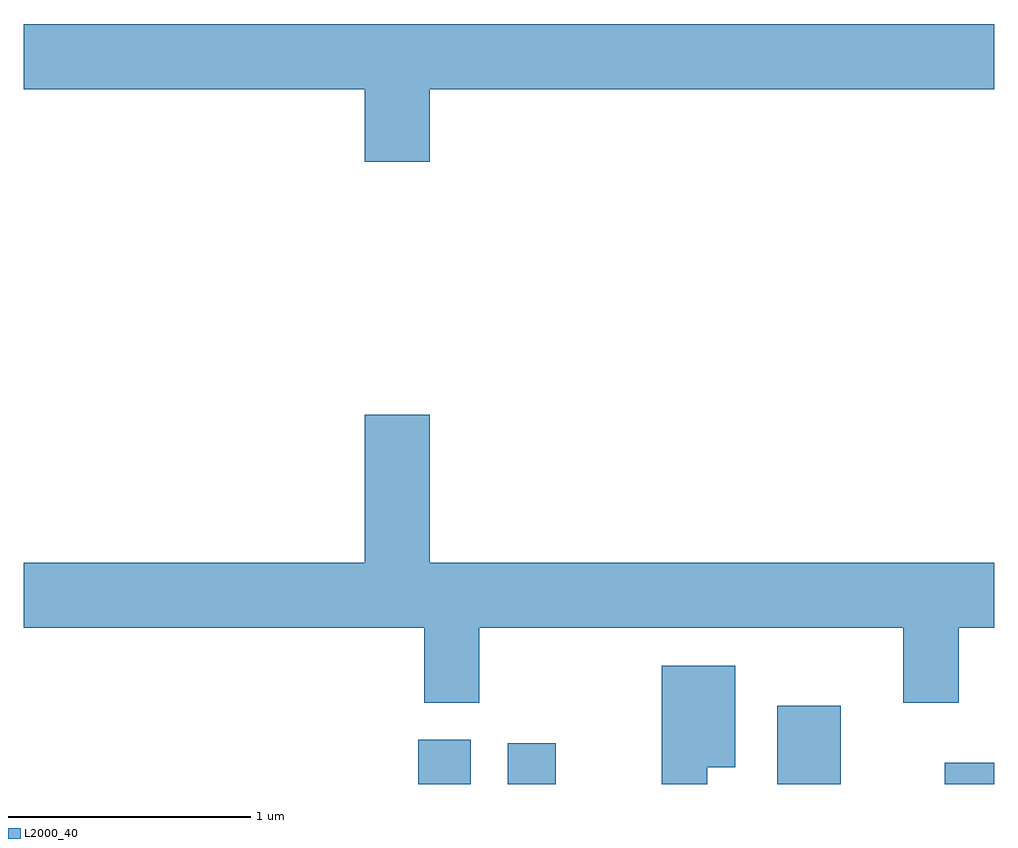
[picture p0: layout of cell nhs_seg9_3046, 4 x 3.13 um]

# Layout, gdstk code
import gdstk
lib = gdstk.Library(unit=1e-6, precision=1e-09)
def R(c, l, rs):  # rectangles x0, y0, x1, y1
    for r in rs: c.add(gdstk.rectangle(r[:2], r[2:], *l))
def P(c, l, *ps):  # polygons
    for p in ps: c.add(gdstk.Polygon(p, *l))
L2000_40 = (2000, 40)

nhs_seg9_3046 = lib.new_cell('nhs_seg9_3046')
R(nhs_seg9_3046, L2000_40, [(275.236,2064.432,275.454,2064.614), (275.606,2064.432,275.804,2064.599), (276.716,2064.432,276.979,2064.754), (277.406,2064.432,277.611,2064.519)])
P(nhs_seg9_3046, L2000_40, [(275.284,2067.296),(277.611,2067.296),(277.611,2067.564),(273.611,2067.564),(273.611,2067.296),(275.016,2067.296),(275.016,2066.996),(275.284,2066.996)],
  [(275.489,2065.076),(277.236,2065.076),(277.236,2064.766),(277.464,2064.766),(277.464,2065.076),(277.611,2065.076),(277.611,2065.344),(275.284,2065.344),(275.284,2065.954),(275.016,2065.954),(275.016,2065.344),(273.611,2065.344),(273.611,2065.076),(275.261,2065.076),(275.261,2064.766),(275.489,2064.766)],
  [(276.429,2064.501),(276.544,2064.501),(276.544,2064.919),(276.241,2064.919),(276.241,2064.432),(276.429,2064.432)])

lib.write_gds('nhs_seg9_3046.gds')
